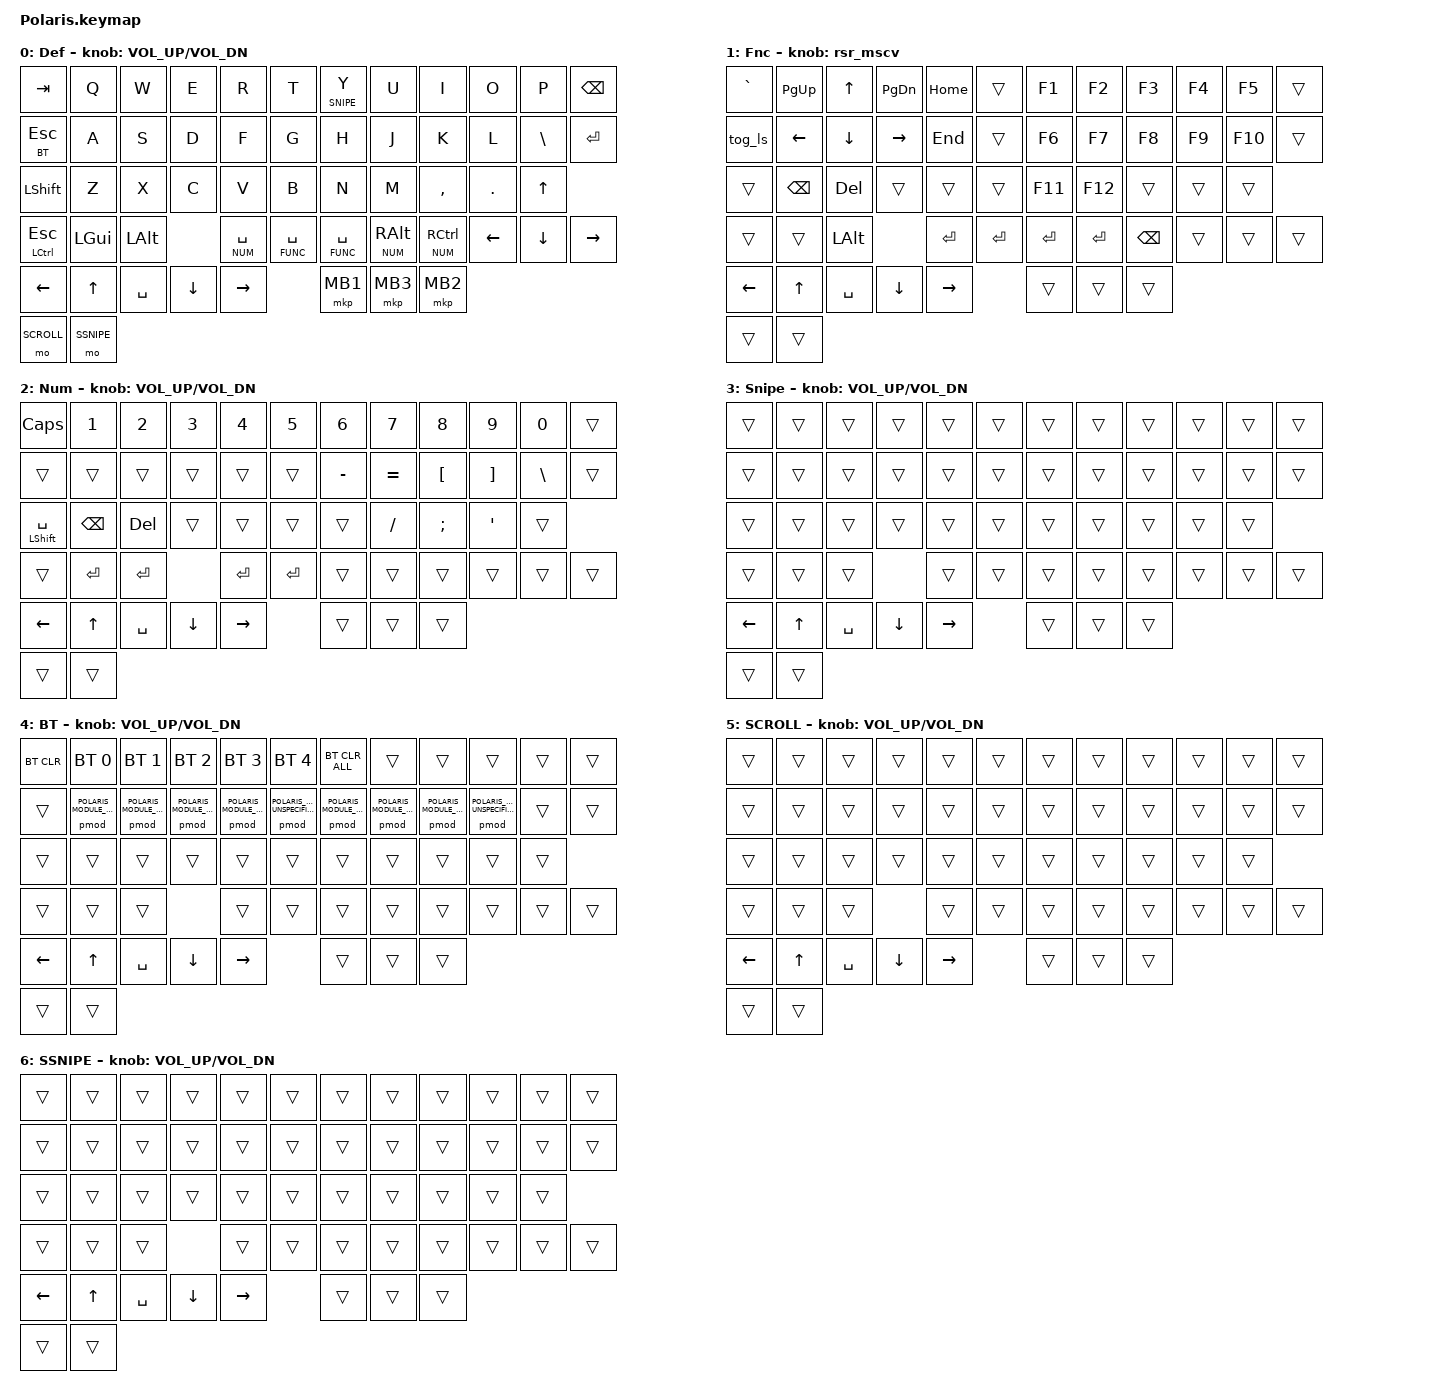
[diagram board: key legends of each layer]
// #include <layout_shift.dtsi>

#include <behaviors.dtsi>
#include <dt-bindings/zmk/bt.h>
#include <dt-bindings/zmk/keys.h>
#include <dt-bindings/zmk/pointing.h>
#include <dt-bindings/polaris/module_select.h>
#include "layout_shift.dtsi"

/ {
    behaviors {
        // Keep the original key_press behavior for ZMK core components

        original_key_press: original_key_press {
            compatible = "zmk,behavior-key-press";
            #binding-cells = <1>;
            label = "KEY_PRESS";
        };

        // Override the existing &kp behavior to use our custom implementation

        kp: key_press {
            compatible = "zmk,behavior-layout-shift-key-press";
            #binding-cells = <1>;
            label = "LAYOUT_SHIFT_KEY_PRESS";
        };

        rsr_vol: rsr_vol {
            compatible = "zmk,behavior-runtime-sensor-rotate";
            #sensor-binding-cells = <0>;
            tap-ms = <5>;
            cw-binding = <&kp C_VOL_UP>;
            ccw-binding = <&kp C_VOL_DN>;
        };

        // mouse scroll
        rsr_msch: rsr_msch {
			compatible = "zmk,behavior-runtime-sensor-rotate";
			#sensor-binding-cells = <0>;
			tap-ms = <20>;
			cw-binding = <&msc SCRL_DOWN>;
			ccw-binding = <&msc SCRL_UP>;
		};
        rsr_mscv: rsr_mscv {
			compatible = "zmk,behavior-runtime-sensor-rotate";
			#sensor-binding-cells = <0>;
			tap-ms = <20>;
			cw-binding = <&msc SCRL_RIGHT>;
			ccw-binding = <&msc SCRL_LEFT>;
		};
    };
};

#define DEF 0
#define FUNC 1
#define NUM 2
#define SNIPE 3
#define BT 4
#define SCROLL 5
#define SSNIPE 6

/ {
    combos {
        compatible = "zmk,combos";

        COMBO_LANG1 {
            bindings = <&kp LANGUAGE_1>;
            key-positions = <1 2>;
        };

        COMBO_LANG2 {
            bindings = <&kp LANG2>;
            key-positions = <2 3>;
        };
    };

    keymap {
        compatible = "zmk,keymap";

        default_layer {
            label = "Def";
            bindings = <
&kp TAB       &kp Q     &kp W      &kp E     &kp R          &kp T                   &lt SNIPE Y     &kp U         &kp I         &kp O     &kp P     &kp BACKSPACE
&lt BT ESC    &kp A     &kp S      &kp D     &kp F          &kp G                   &kp H           &kp J         &kp K         &kp L     &kp BSLH  &kp ENTER
&kp LSHFT     &kp Z     &kp X      &kp C     &kp V          &kp B                   &kp N           &kp M         &kp COMMA     &kp DOT   &kp UP
&mt LCTL ESC  &kp LGUI  &kp LALT             &lt NUM SPACE  &lt FUNC SPACE          &lt FUNC SPACE  &lt NUM RALT  &lt NUM RCTL  &kp LEFT  &kp DOWN  &kp RIGHT
&kp LEFT      &kp UP    &kp SPACE  &kp DOWN  &kp RIGHT                              &mkp MB1        &mkp MB3      &mkp MB2
&mo SCROLL    &mo SSNIPE
            >;

            sensor-bindings = <&inc_dec_kp C_VOL_UP C_VOL_DN>;
        };

        function_layer {
            label = "Fnc";
            bindings = <
&kp GRAVE  &kp PG_UP      &kp UP     &kp PG_DN  &kp HOME   &trans             &kp F1     &kp F2     &kp F3    &kp F4  &kp F5   &trans
&tog_ls    &kp LEFT       &kp DOWN   &kp RIGHT  &kp END    &trans             &kp F6     &kp F7     &kp F8    &kp F9  &kp F10  &trans
&trans     &kp BACKSPACE  &kp DEL    &trans     &trans     &trans             &kp F11    &kp F12    &trans    &trans  &trans
&trans     &trans         &kp LALT              &kp ENTER  &kp ENTER          &kp ENTER  &kp ENTER  &kp BKSP  &trans  &trans   &trans
&kp LEFT   &kp UP         &kp SPACE  &kp DOWN   &kp RIGHT                     &trans     &trans     &trans
&trans     &trans
            >;

            sensor-bindings = <&rsr_mscv>;
        };

        num_layer {
            label = "Num";
            bindings = <
&kp CAPS         &kp N1         &kp N2     &kp N3    &kp N4     &kp N5             &kp N6     &kp N7     &kp N8    &kp N9    &kp N0    &trans
&trans           &trans         &trans     &trans    &trans     &trans             &kp MINUS  &kp EQUAL  &kp LBKT  &kp RBKT  &kp BSLH  &trans
&mt LSHFT SPACE  &kp BACKSPACE  &kp DEL    &trans    &trans     &trans             &trans     &kp FSLH   &kp SEMI  &kp SQT   &trans
&trans           &kp ENTER      &kp ENTER            &kp ENTER  &kp ENTER          &trans     &trans     &trans    &trans    &trans    &trans
&kp LEFT         &kp UP         &kp SPACE  &kp DOWN  &kp RIGHT                     &trans     &trans     &trans
&trans     &trans
            >;

            sensor-bindings = <&inc_dec_kp C_VOL_UP C_VOL_DN>;
        };

        snipe_layer {
            label = "Snipe";
            bindings = <
&trans    &trans  &trans     &trans    &trans     &trans          &trans  &trans  &trans  &trans  &trans  &trans
&trans    &trans  &trans     &trans    &trans     &trans          &trans  &trans  &trans  &trans  &trans  &trans
&trans    &trans  &trans     &trans    &trans     &trans          &trans  &trans  &trans  &trans  &trans
&trans    &trans  &trans               &trans     &trans          &trans  &trans  &trans  &trans  &trans  &trans
&kp LEFT  &kp UP  &kp SPACE  &kp DOWN  &kp RIGHT                  &trans  &trans  &trans
&trans     &trans
            >;

            sensor-bindings = <&inc_dec_kp C_VOL_UP C_VOL_DN>;
        };

        bt_layer {
            label = "BT";
            bindings = <
&bt BT_CLR  &bt BT_SEL 0  &bt BT_SEL 1  &bt BT_SEL 2  &bt BT_SEL 3  &bt BT_SEL 4          &bt BT_CLR_ALL  &trans  &trans  &trans  &trans  &trans
&trans      &pmod POLARIS_MODULE_ENC  &pmod POLARIS_MODULE_JOY  &pmod POLARIS_MODULE_TB  &pmod POLARIS_MODULE_TPD  &pmod POLARIS_MODULE_UNSPECIFIED                  &pmod POLARIS_MODULE_TB  &pmod POLARIS_MODULE_TPD  &pmod POLARIS_MODULE_IQS  &pmod POLARIS_MODULE_UNSPECIFIED  &trans  &trans
&trans      &trans        &trans        &trans        &trans        &trans                &trans          &trans  &trans  &trans  &trans
&trans      &trans        &trans                      &trans        &trans                &trans          &trans  &trans  &trans  &trans  &trans
&kp LEFT    &kp UP        &kp SPACE     &kp DOWN      &kp RIGHT                           &trans          &trans  &trans
&trans     &trans
            >;

            sensor-bindings = <&inc_dec_kp C_VOL_UP C_VOL_DN>;
        };

        scroll_layer {
            label = "SCROLL";
            bindings = <
&trans      &trans        &trans        &trans        &trans        &trans                &trans          &trans  &trans  &trans  &trans  &trans
&trans      &trans        &trans        &trans        &trans        &trans                &trans          &trans  &trans  &trans  &trans  &trans
&trans      &trans        &trans        &trans        &trans        &trans                &trans          &trans  &trans  &trans  &trans
&trans      &trans        &trans                      &trans        &trans                &trans          &trans  &trans  &trans  &trans  &trans
&kp LEFT    &kp UP        &kp SPACE     &kp DOWN      &kp RIGHT                           &trans          &trans  &trans
&trans     &trans
            >;

            sensor-bindings = <&inc_dec_kp C_VOL_UP C_VOL_DN>;
        };

        SSNIPE_layer {
            label = "SSNIPE";
            bindings = <
&trans      &trans        &trans        &trans        &trans        &trans                &trans          &trans  &trans  &trans  &trans  &trans
&trans      &trans        &trans        &trans        &trans        &trans                &trans          &trans  &trans  &trans  &trans  &trans
&trans      &trans        &trans        &trans        &trans        &trans                &trans          &trans  &trans  &trans  &trans
&trans      &trans        &trans                      &trans        &trans                &trans          &trans  &trans  &trans  &trans  &trans
&kp LEFT    &kp UP        &kp SPACE     &kp DOWN      &kp RIGHT                           &trans          &trans  &trans
&trans     &trans
            >;

            sensor-bindings = <&inc_dec_kp C_VOL_UP C_VOL_DN>;
        };
    };
};
